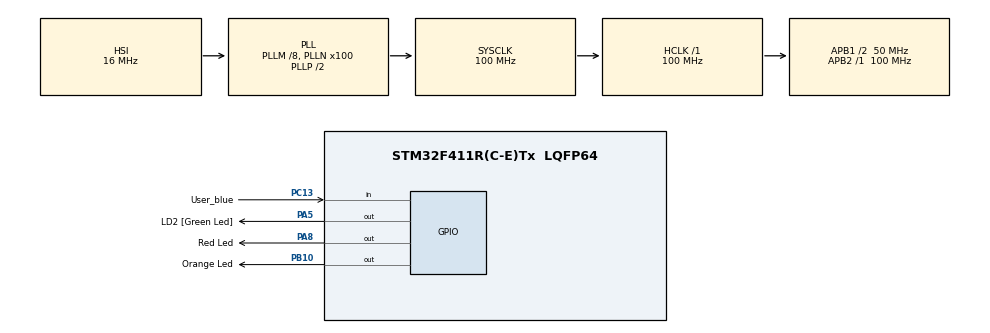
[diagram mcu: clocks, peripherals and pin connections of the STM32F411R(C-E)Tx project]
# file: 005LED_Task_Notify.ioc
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Mcu.Family=STM32F4
Mcu.Name=STM32F411R(C-E)Tx
Mcu.Package=LQFP64
NVIC.PriorityGroup=NVIC_PRIORITYGROUP_4
NVIC.TIM3_IRQn=true\:15\:0\:false\:false\:true\:false\:true\:true
NVIC.TimeBase=TIM3_IRQn
NVIC.TimeBaseIP=TIM3
PA13.GPIO_Label=TMS
PA13.Signal=SYS_JTMS-SWDIO
PA14.GPIO_Label=TCK
PA14.Signal=SYS_JTCK-SWCLK
PA2.GPIO_Label=USART_TX
PA2.Signal=USART2_TX
PA3.GPIO_Label=USART_RX
PA3.Signal=USART2_RX
PA5.GPIO_Label=LD2 [Green Led]
PA5.Signal=GPIO_Output
PA8.GPIO_Label=Red Led
PA8.Signal=GPIO_Output
PB10.GPIO_Label=Orange Led
PB10.Signal=GPIO_Output
PB3.GPIO_Label=SWO
PB3.Signal=SYS_JTDO-SWO
PC13-ANTI_TAMP.GPIO_Label=User_blue
PC13-ANTI_TAMP.GPIO_PuPd=GPIO_NOPULL
PC13-ANTI_TAMP.Signal=GPIO_Input
PC14-OSC32_IN.Signal=RCC_OSC32_IN
PC15-OSC32_OUT.Signal=RCC_OSC32_OUT
PH0\ -\ OSC_IN.Signal=RCC_OSC_IN
PH1\ -\ OSC_OUT.Signal=RCC_OSC_OUT
ProjectManager.HeapSize=0x200
ProjectManager.StackSize=0x400
ProjectManager.TargetToolchain=STM32CubeIDE
RCC.48MHZClocksFreq_Value=50000000
RCC.AHBFreq_Value=100000000
RCC.APB1CLKDivider=RCC_HCLK_DIV2
RCC.APB1Freq_Value=50000000
RCC.APB1TimFreq_Value=100000000
RCC.APB2Freq_Value=100000000
RCC.APB2TimFreq_Value=100000000
RCC.CortexFreq_Value=100000000
RCC.FLatency-AdvancedSettings=FLASH_LATENCY_3
RCC.HCLKFreq_Value=100000000
RCC.HSE_VALUE=8000000
RCC.HSI_VALUE=16000000
RCC.LSE_VALUE=32768
RCC.PLLM=8
RCC.PLLN=100
RCC.SYSCLKFreq_VALUE=100000000
RCC.SYSCLKSource=RCC_SYSCLKSOURCE_PLLCLK
RCC.VCOOutputFreq_Value=200000000
VP_SYS_VS_tim3.Mode=TIM3
board=NUCLEO-F411RE

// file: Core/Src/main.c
/* USER CODE BEGIN Header */
/**
 ******************************************************************************
 * @file           : main.c
 * @brief          : Main program body
 ******************************************************************************
 * @attention
 *
 * Copyright (c) 2024 STMicroelectronics.
 * All rights reserved.
 *
 * This software is licensed under terms that can be found in the LICENSE file
 * in the root directory of this software component.
 * If no LICENSE file comes with this software, it is provided AS-IS.
 *
 ******************************************************************************
 */
/* USER CODE END Header */
#include "main.h"

/* USER CODE BEGIN Includes */
#include "SEGGER_SYSVIEW.h"
#include "FreeRTOS.h"
#include "task.h"
#include <stdio.h>

/* USER CODE END Includes */

/* USER CODE BEGIN PV */

#define DWT_CTRL (*(volatile uint32_t *)0xE0001000)

/* USER CODE END PV */

void SystemClock_Config(void);
static void MX_GPIO_Init(void);
/* USER CODE BEGIN PFP */
void led_red_handler(void *parameters);
void led_orange_handler(void *parameters);
void led_green_handler(void *parameters);
void button_handler(void *parameters);

extern void SEGGER_UART_init(uint32_t);

TaskHandle_t green_handle;
TaskHandle_t red_handle;
TaskHandle_t orange_handle;
TaskHandle_t button_handle;

TaskHandle_t volatile next_task_handle = NULL;

/* USER CODE END PFP */

int main(void) {
	/* USER CODE BEGIN 1 */

	BaseType_t status;

	/* USER CODE END 1 */

	/* MCU Configuration--------------------------------------------------------*/

	/* Reset of all peripherals, Initializes the Flash interface and the Systick. */
	HAL_Init();

	/* Configure the system clock */
	SystemClock_Config();

	/* Initialize all configured peripherals */
	MX_GPIO_Init();
	/* USER CODE BEGIN 2 */

	//Enale the CYCNT counter
	DWT_CTRL |= (1 << 0);

	SEGGER_UART_init(500000);

	SEGGER_SYSVIEW_Conf();

	//SEGGER_SYSVIEW_Start();

	status = xTaskCreate(led_green_handler, "led_green_handler_task", 200,
	NULL, 3, &green_handle);

	configASSERT(status == pdPASS);

	next_task_handle = green_handle;

	status = xTaskCreate(led_red_handler, "led_red_handler_task", 200,
	NULL, 2, &red_handle);

	configASSERT(status == pdPASS);

	status = xTaskCreate(led_orange_handler, "led_orange_handler_task", 200,
	NULL, 1, &orange_handle);

	configASSERT(status == pdPASS);

	status = xTaskCreate(button_handler, "button task", 200,
	NULL, 4, &button_handle);

	configASSERT(status == pdPASS);

	//start the freeRTOS scheduler
	vTaskStartScheduler();

	//if the control stop here is not enough FreRTOOS heap.

	/* USER CODE END 2 */

	/* Infinite loop */
	while (1) {

	}
}

void SystemClock_Config(void) {
	RCC_OscInitTypeDef RCC_OscInitStruct = { 0 };
	RCC_ClkInitTypeDef RCC_ClkInitStruct = { 0 };

	/** Configure the main internal regulator output voltage
	 */
	__HAL_RCC_PWR_CLK_ENABLE();
	__HAL_PWR_VOLTAGESCALING_CONFIG(PWR_REGULATOR_VOLTAGE_SCALE1);

	/** Initializes the RCC Oscillators according to the specified parameters
	 * in the RCC_OscInitTypeDef structure.
	 */
	RCC_OscInitStruct.OscillatorType = RCC_OSCILLATORTYPE_HSI;
	RCC_OscInitStruct.HSIState = RCC_HSI_ON;
	RCC_OscInitStruct.HSICalibrationValue = RCC_HSICALIBRATION_DEFAULT;
	RCC_OscInitStruct.PLL.PLLState = RCC_PLL_ON;
	RCC_OscInitStruct.PLL.PLLSource = RCC_PLLSOURCE_HSI;
	RCC_OscInitStruct.PLL.PLLM = 8;
	RCC_OscInitStruct.PLL.PLLN = 100;
	RCC_OscInitStruct.PLL.PLLP = RCC_PLLP_DIV2;
	RCC_OscInitStruct.PLL.PLLQ = 4;
	if (HAL_RCC_OscConfig(&RCC_OscInitStruct) != HAL_OK) {
		Error_Handler();
	}

	/** Initializes the CPU, AHB and APB buses clocks
	 */
	RCC_ClkInitStruct.ClockType = RCC_CLOCKTYPE_HCLK | RCC_CLOCKTYPE_SYSCLK
			| RCC_CLOCKTYPE_PCLK1 | RCC_CLOCKTYPE_PCLK2;
	RCC_ClkInitStruct.SYSCLKSource = RCC_SYSCLKSOURCE_PLLCLK;
	RCC_ClkInitStruct.AHBCLKDivider = RCC_SYSCLK_DIV1;
	RCC_ClkInitStruct.APB1CLKDivider = RCC_HCLK_DIV2;
	RCC_ClkInitStruct.APB2CLKDivider = RCC_HCLK_DIV1;

	if (HAL_RCC_ClockConfig(&RCC_ClkInitStruct, FLASH_LATENCY_3) != HAL_OK) {
		Error_Handler();
	}
}

static void MX_GPIO_Init(void) {
	GPIO_InitTypeDef GPIO_InitStruct = { 0 };

	/* GPIO Ports Clock Enable */
	__HAL_RCC_GPIOC_CLK_ENABLE();
	__HAL_RCC_GPIOH_CLK_ENABLE();
	__HAL_RCC_GPIOA_CLK_ENABLE();
	__HAL_RCC_GPIOB_CLK_ENABLE();

	/*Configure GPIO pin Output Level */
	HAL_GPIO_WritePin(GPIOA, LD2_Pin | Red_Led_Pin, GPIO_PIN_RESET);

	/*Configure GPIO pin Output Level */
	HAL_GPIO_WritePin(Orange_Led_GPIO_Port, Orange_Led_Pin, GPIO_PIN_RESET);

	/*Configure GPIO pin : User_blue_Pin */
	GPIO_InitStruct.Pin = User_blue_Pin;
	GPIO_InitStruct.Mode = GPIO_MODE_INPUT;
	GPIO_InitStruct.Pull = GPIO_NOPULL;
	HAL_GPIO_Init(User_blue_GPIO_Port, &GPIO_InitStruct);

	/*Configure GPIO pins : USART_TX_Pin USART_RX_Pin */
	GPIO_InitStruct.Pin = USART_TX_Pin | USART_RX_Pin;
	GPIO_InitStruct.Mode = GPIO_MODE_AF_PP;
	GPIO_InitStruct.Pull = GPIO_NOPULL;
	GPIO_InitStruct.Speed = GPIO_SPEED_FREQ_VERY_HIGH;
	GPIO_InitStruct.Alternate = GPIO_AF7_USART2;
	HAL_GPIO_Init(GPIOA, &GPIO_InitStruct);

	/*Configure GPIO pins : LD2_Pin Red_Led_Pin */
	GPIO_InitStruct.Pin = LD2_Pin | Red_Led_Pin;
	GPIO_InitStruct.Mode = GPIO_MODE_OUTPUT_PP;
	GPIO_InitStruct.Pull = GPIO_NOPULL;
	GPIO_InitStruct.Speed = GPIO_SPEED_FREQ_LOW;
	HAL_GPIO_Init(GPIOA, &GPIO_InitStruct);

	/*Configure GPIO pin : Orange_Led_Pin */
	GPIO_InitStruct.Pin = Orange_Led_Pin;
	GPIO_InitStruct.Mode = GPIO_MODE_OUTPUT_PP;
	GPIO_InitStruct.Pull = GPIO_NOPULL;
	GPIO_InitStruct.Speed = GPIO_SPEED_FREQ_LOW;
	HAL_GPIO_Init(Orange_Led_GPIO_Port, &GPIO_InitStruct);

}

/* USER CODE BEGIN 4 */

void led_green_handler(void *parameters) {

	BaseType_t status;

	while (1) {
		SEGGER_SYSVIEW_PrintfTarget("Toggling Green");
		HAL_GPIO_TogglePin(GPIOA, LD2_Pin);
		status = xTaskNotifyWait(0, 0, NULL, pdMS_TO_TICKS(1000));
		if (status == pdTRUE) {
			vTaskSuspendAll();
			next_task_handle = red_handle;
			xTaskResumeAll();
			HAL_GPIO_WritePin(GPIOA, LD2_Pin, GPIO_PIN_SET);
			SEGGER_SYSVIEW_PrintfTarget("Suspend green Task");
			vTaskSuspend(NULL);
		}
	}

}

void led_red_handler(void *parameters) {

	BaseType_t status;

	while (1) {
		SEGGER_SYSVIEW_PrintfTarget("Toggling red");
		HAL_GPIO_TogglePin(GPIOA, Red_Led_Pin);
		status = xTaskNotifyWait(0, 0, NULL, pdMS_TO_TICKS(800));
		if (status == pdTRUE) {
			vTaskSuspendAll();
			next_task_handle = orange_handle;
			xTaskResumeAll();
			HAL_GPIO_WritePin(GPIOA, Red_Led_Pin, GPIO_PIN_SET);
			SEGGER_SYSVIEW_PrintfTarget("Suspend red Task");
			vTaskSuspend(NULL);
		}
	}

}

void led_orange_handler(void *parameters) {

	BaseType_t status;

	while (1) {
		SEGGER_SYSVIEW_PrintfTarget("Toggling Orange");
		HAL_GPIO_TogglePin(GPIOB, Orange_Led_Pin);
		status = xTaskNotifyWait(0, 0, NULL, pdMS_TO_TICKS(400));
		if (status == pdTRUE) {
			vTaskSuspendAll();
			next_task_handle = button_handle;
			xTaskResumeAll();
			HAL_GPIO_WritePin(GPIOA, Orange_Led_Pin, GPIO_PIN_SET);
			SEGGER_SYSVIEW_PrintfTarget("Suspend orange Task");
			vTaskSuspend(NULL);
		}

	}
}
void button_handler(void *parameters) {

	uint8_t btn_read = 0;
	uint8_t prev_read = 1;
	BaseType_t status;

	while (1) {
		btn_read = HAL_GPIO_ReadPin(GPIOC, User_blue_Pin);
		if (!btn_read) {
			if (prev_read) {
				SEGGER_SYSVIEW_PrintfTarget("Button notification");
				xTaskNotify(next_task_handle, 0, eNoAction);
			}
		}
		prev_read = btn_read;
		status = xTaskNotifyWait(0, 0, NULL, pdMS_TO_TICKS(10));
		if (status == pdTRUE) {
			vTaskSuspendAll();
			next_task_handle = green_handle;
			xTaskResumeAll();
			vTaskResume(green_handle);
			vTaskResume(red_handle);
			vTaskResume(orange_handle);
		}
	}

}
/* USER CODE END 4 */

void HAL_TIM_PeriodElapsedCallback(TIM_HandleTypeDef *htim) {
	if (htim->Instance == TIM3) {
		HAL_IncTick();
	}
}

void Error_Handler(void) {
	__disable_irq();
	while (1) {
	}
}
